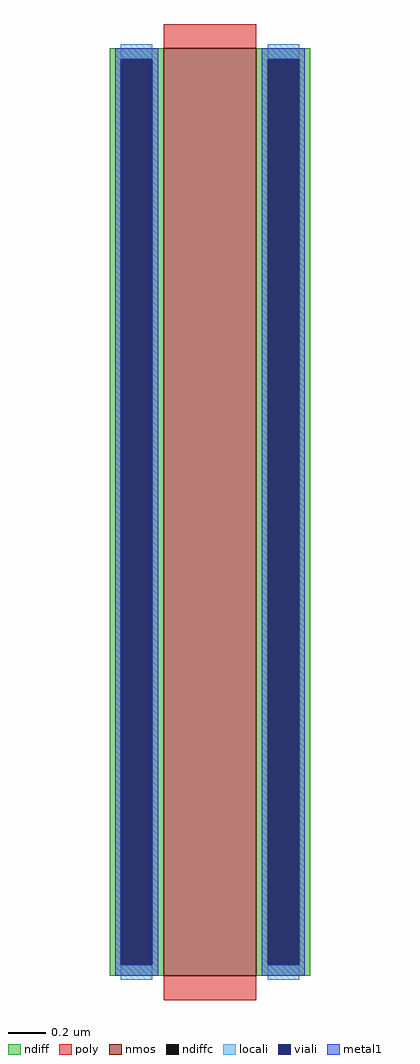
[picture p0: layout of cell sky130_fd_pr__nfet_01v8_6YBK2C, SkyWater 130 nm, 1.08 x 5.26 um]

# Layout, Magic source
magic
tech sky130A
<< nmos >>
rect -25 -250 25 250
<< ndiff >>
rect -54 244 -25 250
rect -54 -244 -48 244
rect -31 -244 -25 244
rect -54 -250 -25 -244
rect 25 244 54 250
rect 25 -244 31 244
rect 48 -244 54 244
rect 25 -250 54 -244
<< ndiffc >>
rect -48 -244 -31 244
rect 31 -244 48 244
<< poly >>
rect -25 250 25 263
rect -25 -263 25 -250
<< locali >>
rect -48 244 -31 252
rect -48 -252 -31 -244
rect 31 244 48 252
rect 31 -252 48 -244
<< viali >>
rect -48 -244 -31 244
rect 31 -244 48 244
<< metal1 >>
rect -51 244 -28 250
rect -51 -244 -48 244
rect -31 -244 -28 244
rect -51 -250 -28 -244
rect 28 244 51 250
rect 28 -244 31 244
rect 48 -244 51 244
rect 28 -250 51 -244
<< properties >>
string gencell sky130_fd_pr__nfet_01v8
string parameters w 5 l 0.5 m 1 nf 1 diffcov 100 polycov 100 guard 0 glc 1 grc 1 gtc 1 gbc 1 tbcov 100 rlcov 100 topc 0 botc 0 poverlap 0 doverlap 1 lmin 0.15 wmin 0.42 compatible {sky130_fd_pr__nfet_01v8 sky130_fd_pr__nfet_01v8_lvt  sky130_fd_bs_flash__special_sonosfet_star  sky130_fd_pr__nfet_g5v0d10v5 sky130_fd_pr__nfet_05v0_nvt  sky130_fd_pr__nfet_03v3_nvt} full_metal 1 viasrc 100 viadrn 100 viagate 100 viagb 0 viagr 0 viagl 0 viagt 0
string library sky130
<< end >>
